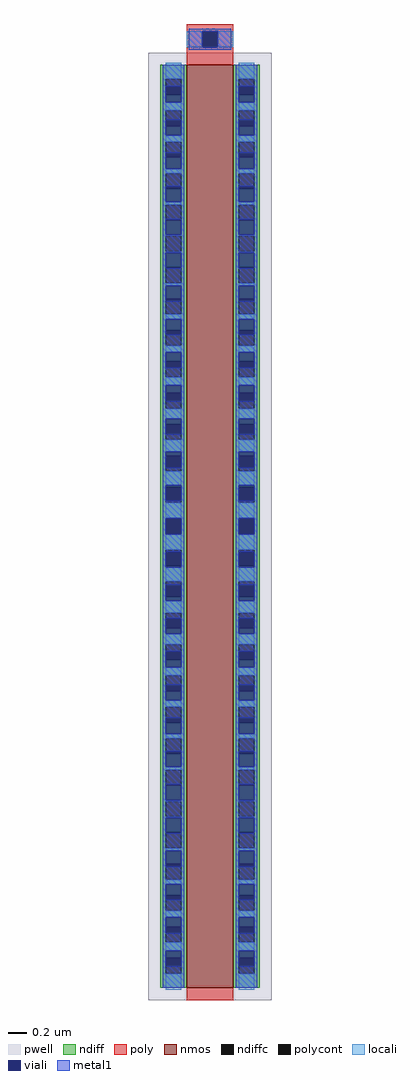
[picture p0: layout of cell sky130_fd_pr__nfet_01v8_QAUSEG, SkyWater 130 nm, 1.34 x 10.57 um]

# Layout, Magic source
magic
tech sky130A
magscale 1 2
<< pwell >>
rect -134 -1057 134 995
<< nmos >>
rect -50 -1031 50 969
<< ndiff >>
rect -108 938 -50 969
rect -108 904 -96 938
rect -62 904 -50 938
rect -108 870 -50 904
rect -108 836 -96 870
rect -62 836 -50 870
rect -108 802 -50 836
rect -108 768 -96 802
rect -62 768 -50 802
rect -108 734 -50 768
rect -108 700 -96 734
rect -62 700 -50 734
rect -108 666 -50 700
rect -108 632 -96 666
rect -62 632 -50 666
rect -108 598 -50 632
rect -108 564 -96 598
rect -62 564 -50 598
rect -108 530 -50 564
rect -108 496 -96 530
rect -62 496 -50 530
rect -108 462 -50 496
rect -108 428 -96 462
rect -62 428 -50 462
rect -108 394 -50 428
rect -108 360 -96 394
rect -62 360 -50 394
rect -108 326 -50 360
rect -108 292 -96 326
rect -62 292 -50 326
rect -108 258 -50 292
rect -108 224 -96 258
rect -62 224 -50 258
rect -108 190 -50 224
rect -108 156 -96 190
rect -62 156 -50 190
rect -108 122 -50 156
rect -108 88 -96 122
rect -62 88 -50 122
rect -108 54 -50 88
rect -108 20 -96 54
rect -62 20 -50 54
rect -108 -14 -50 20
rect -108 -48 -96 -14
rect -62 -48 -50 -14
rect -108 -82 -50 -48
rect -108 -116 -96 -82
rect -62 -116 -50 -82
rect -108 -150 -50 -116
rect -108 -184 -96 -150
rect -62 -184 -50 -150
rect -108 -218 -50 -184
rect -108 -252 -96 -218
rect -62 -252 -50 -218
rect -108 -286 -50 -252
rect -108 -320 -96 -286
rect -62 -320 -50 -286
rect -108 -354 -50 -320
rect -108 -388 -96 -354
rect -62 -388 -50 -354
rect -108 -422 -50 -388
rect -108 -456 -96 -422
rect -62 -456 -50 -422
rect -108 -490 -50 -456
rect -108 -524 -96 -490
rect -62 -524 -50 -490
rect -108 -558 -50 -524
rect -108 -592 -96 -558
rect -62 -592 -50 -558
rect -108 -626 -50 -592
rect -108 -660 -96 -626
rect -62 -660 -50 -626
rect -108 -694 -50 -660
rect -108 -728 -96 -694
rect -62 -728 -50 -694
rect -108 -762 -50 -728
rect -108 -796 -96 -762
rect -62 -796 -50 -762
rect -108 -830 -50 -796
rect -108 -864 -96 -830
rect -62 -864 -50 -830
rect -108 -898 -50 -864
rect -108 -932 -96 -898
rect -62 -932 -50 -898
rect -108 -966 -50 -932
rect -108 -1000 -96 -966
rect -62 -1000 -50 -966
rect -108 -1031 -50 -1000
rect 50 938 108 969
rect 50 904 62 938
rect 96 904 108 938
rect 50 870 108 904
rect 50 836 62 870
rect 96 836 108 870
rect 50 802 108 836
rect 50 768 62 802
rect 96 768 108 802
rect 50 734 108 768
rect 50 700 62 734
rect 96 700 108 734
rect 50 666 108 700
rect 50 632 62 666
rect 96 632 108 666
rect 50 598 108 632
rect 50 564 62 598
rect 96 564 108 598
rect 50 530 108 564
rect 50 496 62 530
rect 96 496 108 530
rect 50 462 108 496
rect 50 428 62 462
rect 96 428 108 462
rect 50 394 108 428
rect 50 360 62 394
rect 96 360 108 394
rect 50 326 108 360
rect 50 292 62 326
rect 96 292 108 326
rect 50 258 108 292
rect 50 224 62 258
rect 96 224 108 258
rect 50 190 108 224
rect 50 156 62 190
rect 96 156 108 190
rect 50 122 108 156
rect 50 88 62 122
rect 96 88 108 122
rect 50 54 108 88
rect 50 20 62 54
rect 96 20 108 54
rect 50 -14 108 20
rect 50 -48 62 -14
rect 96 -48 108 -14
rect 50 -82 108 -48
rect 50 -116 62 -82
rect 96 -116 108 -82
rect 50 -150 108 -116
rect 50 -184 62 -150
rect 96 -184 108 -150
rect 50 -218 108 -184
rect 50 -252 62 -218
rect 96 -252 108 -218
rect 50 -286 108 -252
rect 50 -320 62 -286
rect 96 -320 108 -286
rect 50 -354 108 -320
rect 50 -388 62 -354
rect 96 -388 108 -354
rect 50 -422 108 -388
rect 50 -456 62 -422
rect 96 -456 108 -422
rect 50 -490 108 -456
rect 50 -524 62 -490
rect 96 -524 108 -490
rect 50 -558 108 -524
rect 50 -592 62 -558
rect 96 -592 108 -558
rect 50 -626 108 -592
rect 50 -660 62 -626
rect 96 -660 108 -626
rect 50 -694 108 -660
rect 50 -728 62 -694
rect 96 -728 108 -694
rect 50 -762 108 -728
rect 50 -796 62 -762
rect 96 -796 108 -762
rect 50 -830 108 -796
rect 50 -864 62 -830
rect 96 -864 108 -830
rect 50 -898 108 -864
rect 50 -932 62 -898
rect 96 -932 108 -898
rect 50 -966 108 -932
rect 50 -1000 62 -966
rect 96 -1000 108 -966
rect 50 -1031 108 -1000
<< ndiffc >>
rect -96 904 -62 938
rect -96 836 -62 870
rect -96 768 -62 802
rect -96 700 -62 734
rect -96 632 -62 666
rect -96 564 -62 598
rect -96 496 -62 530
rect -96 428 -62 462
rect -96 360 -62 394
rect -96 292 -62 326
rect -96 224 -62 258
rect -96 156 -62 190
rect -96 88 -62 122
rect -96 20 -62 54
rect -96 -48 -62 -14
rect -96 -116 -62 -82
rect -96 -184 -62 -150
rect -96 -252 -62 -218
rect -96 -320 -62 -286
rect -96 -388 -62 -354
rect -96 -456 -62 -422
rect -96 -524 -62 -490
rect -96 -592 -62 -558
rect -96 -660 -62 -626
rect -96 -728 -62 -694
rect -96 -796 -62 -762
rect -96 -864 -62 -830
rect -96 -932 -62 -898
rect -96 -1000 -62 -966
rect 62 904 96 938
rect 62 836 96 870
rect 62 768 96 802
rect 62 700 96 734
rect 62 632 96 666
rect 62 564 96 598
rect 62 496 96 530
rect 62 428 96 462
rect 62 360 96 394
rect 62 292 96 326
rect 62 224 96 258
rect 62 156 96 190
rect 62 88 96 122
rect 62 20 96 54
rect 62 -48 96 -14
rect 62 -116 96 -82
rect 62 -184 96 -150
rect 62 -252 96 -218
rect 62 -320 96 -286
rect 62 -388 96 -354
rect 62 -456 96 -422
rect 62 -524 96 -490
rect 62 -592 96 -558
rect 62 -660 96 -626
rect 62 -728 96 -694
rect 62 -796 96 -762
rect 62 -864 96 -830
rect 62 -932 96 -898
rect 62 -1000 96 -966
<< poly >>
rect -50 1041 50 1057
rect -50 1007 -17 1041
rect 17 1007 50 1041
rect -50 969 50 1007
rect -50 -1057 50 -1031
<< polycont >>
rect -17 1007 17 1041
<< locali >>
rect -50 1007 -17 1041
rect 17 1007 50 1041
rect -96 938 -62 973
rect -96 870 -62 888
rect -96 802 -62 816
rect -96 734 -62 744
rect -96 666 -62 672
rect -96 598 -62 600
rect -96 562 -62 564
rect -96 490 -62 496
rect -96 418 -62 428
rect -96 346 -62 360
rect -96 274 -62 292
rect -96 202 -62 224
rect -96 130 -62 156
rect -96 58 -62 88
rect -96 -14 -62 20
rect -96 -82 -62 -48
rect -96 -150 -62 -120
rect -96 -218 -62 -192
rect -96 -286 -62 -264
rect -96 -354 -62 -336
rect -96 -422 -62 -408
rect -96 -490 -62 -480
rect -96 -558 -62 -552
rect -96 -626 -62 -624
rect -96 -662 -62 -660
rect -96 -734 -62 -728
rect -96 -806 -62 -796
rect -96 -878 -62 -864
rect -96 -950 -62 -932
rect -96 -1035 -62 -1000
rect 62 938 96 973
rect 62 870 96 888
rect 62 802 96 816
rect 62 734 96 744
rect 62 666 96 672
rect 62 598 96 600
rect 62 562 96 564
rect 62 490 96 496
rect 62 418 96 428
rect 62 346 96 360
rect 62 274 96 292
rect 62 202 96 224
rect 62 130 96 156
rect 62 58 96 88
rect 62 -14 96 20
rect 62 -82 96 -48
rect 62 -150 96 -120
rect 62 -218 96 -192
rect 62 -286 96 -264
rect 62 -354 96 -336
rect 62 -422 96 -408
rect 62 -490 96 -480
rect 62 -558 96 -552
rect 62 -626 96 -624
rect 62 -662 96 -660
rect 62 -734 96 -728
rect 62 -806 96 -796
rect 62 -878 96 -864
rect 62 -950 96 -932
rect 62 -1035 96 -1000
<< viali >>
rect -17 1007 17 1041
rect -96 904 -62 922
rect -96 888 -62 904
rect -96 836 -62 850
rect -96 816 -62 836
rect -96 768 -62 778
rect -96 744 -62 768
rect -96 700 -62 706
rect -96 672 -62 700
rect -96 632 -62 634
rect -96 600 -62 632
rect -96 530 -62 562
rect -96 528 -62 530
rect -96 462 -62 490
rect -96 456 -62 462
rect -96 394 -62 418
rect -96 384 -62 394
rect -96 326 -62 346
rect -96 312 -62 326
rect -96 258 -62 274
rect -96 240 -62 258
rect -96 190 -62 202
rect -96 168 -62 190
rect -96 122 -62 130
rect -96 96 -62 122
rect -96 54 -62 58
rect -96 24 -62 54
rect -96 -48 -62 -14
rect -96 -116 -62 -86
rect -96 -120 -62 -116
rect -96 -184 -62 -158
rect -96 -192 -62 -184
rect -96 -252 -62 -230
rect -96 -264 -62 -252
rect -96 -320 -62 -302
rect -96 -336 -62 -320
rect -96 -388 -62 -374
rect -96 -408 -62 -388
rect -96 -456 -62 -446
rect -96 -480 -62 -456
rect -96 -524 -62 -518
rect -96 -552 -62 -524
rect -96 -592 -62 -590
rect -96 -624 -62 -592
rect -96 -694 -62 -662
rect -96 -696 -62 -694
rect -96 -762 -62 -734
rect -96 -768 -62 -762
rect -96 -830 -62 -806
rect -96 -840 -62 -830
rect -96 -898 -62 -878
rect -96 -912 -62 -898
rect -96 -966 -62 -950
rect -96 -984 -62 -966
rect 62 904 96 922
rect 62 888 96 904
rect 62 836 96 850
rect 62 816 96 836
rect 62 768 96 778
rect 62 744 96 768
rect 62 700 96 706
rect 62 672 96 700
rect 62 632 96 634
rect 62 600 96 632
rect 62 530 96 562
rect 62 528 96 530
rect 62 462 96 490
rect 62 456 96 462
rect 62 394 96 418
rect 62 384 96 394
rect 62 326 96 346
rect 62 312 96 326
rect 62 258 96 274
rect 62 240 96 258
rect 62 190 96 202
rect 62 168 96 190
rect 62 122 96 130
rect 62 96 96 122
rect 62 54 96 58
rect 62 24 96 54
rect 62 -48 96 -14
rect 62 -116 96 -86
rect 62 -120 96 -116
rect 62 -184 96 -158
rect 62 -192 96 -184
rect 62 -252 96 -230
rect 62 -264 96 -252
rect 62 -320 96 -302
rect 62 -336 96 -320
rect 62 -388 96 -374
rect 62 -408 96 -388
rect 62 -456 96 -446
rect 62 -480 96 -456
rect 62 -524 96 -518
rect 62 -552 96 -524
rect 62 -592 96 -590
rect 62 -624 96 -592
rect 62 -694 96 -662
rect 62 -696 96 -694
rect 62 -762 96 -734
rect 62 -768 96 -762
rect 62 -830 96 -806
rect 62 -840 96 -830
rect 62 -898 96 -878
rect 62 -912 96 -898
rect 62 -966 96 -950
rect 62 -984 96 -966
<< metal1 >>
rect -46 1041 46 1047
rect -46 1007 -17 1041
rect 17 1007 46 1041
rect -46 1001 46 1007
rect -102 922 -56 969
rect -102 888 -96 922
rect -62 888 -56 922
rect -102 850 -56 888
rect -102 816 -96 850
rect -62 816 -56 850
rect -102 778 -56 816
rect -102 744 -96 778
rect -62 744 -56 778
rect -102 706 -56 744
rect -102 672 -96 706
rect -62 672 -56 706
rect -102 634 -56 672
rect -102 600 -96 634
rect -62 600 -56 634
rect -102 562 -56 600
rect -102 528 -96 562
rect -62 528 -56 562
rect -102 490 -56 528
rect -102 456 -96 490
rect -62 456 -56 490
rect -102 418 -56 456
rect -102 384 -96 418
rect -62 384 -56 418
rect -102 346 -56 384
rect -102 312 -96 346
rect -62 312 -56 346
rect -102 274 -56 312
rect -102 240 -96 274
rect -62 240 -56 274
rect -102 202 -56 240
rect -102 168 -96 202
rect -62 168 -56 202
rect -102 130 -56 168
rect -102 96 -96 130
rect -62 96 -56 130
rect -102 58 -56 96
rect -102 24 -96 58
rect -62 24 -56 58
rect -102 -14 -56 24
rect -102 -48 -96 -14
rect -62 -48 -56 -14
rect -102 -86 -56 -48
rect -102 -120 -96 -86
rect -62 -120 -56 -86
rect -102 -158 -56 -120
rect -102 -192 -96 -158
rect -62 -192 -56 -158
rect -102 -230 -56 -192
rect -102 -264 -96 -230
rect -62 -264 -56 -230
rect -102 -302 -56 -264
rect -102 -336 -96 -302
rect -62 -336 -56 -302
rect -102 -374 -56 -336
rect -102 -408 -96 -374
rect -62 -408 -56 -374
rect -102 -446 -56 -408
rect -102 -480 -96 -446
rect -62 -480 -56 -446
rect -102 -518 -56 -480
rect -102 -552 -96 -518
rect -62 -552 -56 -518
rect -102 -590 -56 -552
rect -102 -624 -96 -590
rect -62 -624 -56 -590
rect -102 -662 -56 -624
rect -102 -696 -96 -662
rect -62 -696 -56 -662
rect -102 -734 -56 -696
rect -102 -768 -96 -734
rect -62 -768 -56 -734
rect -102 -806 -56 -768
rect -102 -840 -96 -806
rect -62 -840 -56 -806
rect -102 -878 -56 -840
rect -102 -912 -96 -878
rect -62 -912 -56 -878
rect -102 -950 -56 -912
rect -102 -984 -96 -950
rect -62 -984 -56 -950
rect -102 -1031 -56 -984
rect 56 922 102 969
rect 56 888 62 922
rect 96 888 102 922
rect 56 850 102 888
rect 56 816 62 850
rect 96 816 102 850
rect 56 778 102 816
rect 56 744 62 778
rect 96 744 102 778
rect 56 706 102 744
rect 56 672 62 706
rect 96 672 102 706
rect 56 634 102 672
rect 56 600 62 634
rect 96 600 102 634
rect 56 562 102 600
rect 56 528 62 562
rect 96 528 102 562
rect 56 490 102 528
rect 56 456 62 490
rect 96 456 102 490
rect 56 418 102 456
rect 56 384 62 418
rect 96 384 102 418
rect 56 346 102 384
rect 56 312 62 346
rect 96 312 102 346
rect 56 274 102 312
rect 56 240 62 274
rect 96 240 102 274
rect 56 202 102 240
rect 56 168 62 202
rect 96 168 102 202
rect 56 130 102 168
rect 56 96 62 130
rect 96 96 102 130
rect 56 58 102 96
rect 56 24 62 58
rect 96 24 102 58
rect 56 -14 102 24
rect 56 -48 62 -14
rect 96 -48 102 -14
rect 56 -86 102 -48
rect 56 -120 62 -86
rect 96 -120 102 -86
rect 56 -158 102 -120
rect 56 -192 62 -158
rect 96 -192 102 -158
rect 56 -230 102 -192
rect 56 -264 62 -230
rect 96 -264 102 -230
rect 56 -302 102 -264
rect 56 -336 62 -302
rect 96 -336 102 -302
rect 56 -374 102 -336
rect 56 -408 62 -374
rect 96 -408 102 -374
rect 56 -446 102 -408
rect 56 -480 62 -446
rect 96 -480 102 -446
rect 56 -518 102 -480
rect 56 -552 62 -518
rect 96 -552 102 -518
rect 56 -590 102 -552
rect 56 -624 62 -590
rect 96 -624 102 -590
rect 56 -662 102 -624
rect 56 -696 62 -662
rect 96 -696 102 -662
rect 56 -734 102 -696
rect 56 -768 62 -734
rect 96 -768 102 -734
rect 56 -806 102 -768
rect 56 -840 62 -806
rect 96 -840 102 -806
rect 56 -878 102 -840
rect 56 -912 62 -878
rect 96 -912 102 -878
rect 56 -950 102 -912
rect 56 -984 62 -950
rect 96 -984 102 -950
rect 56 -1031 102 -984
<< end >>
